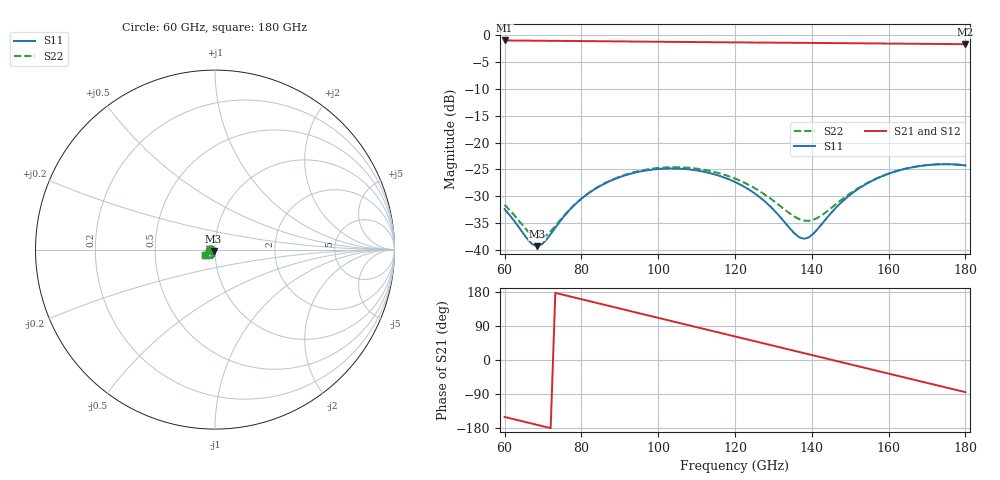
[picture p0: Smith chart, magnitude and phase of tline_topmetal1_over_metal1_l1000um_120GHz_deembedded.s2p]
! Created with skrf 2.2.0 (http://scikit-rf.org).
# GHz S DB R 50.0
! Port[1] = P1
! Port[2] = P2
!freq dBS11 angS11 dBS21 angS21 dBS12 angS12 dBS22 angS22
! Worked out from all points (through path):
!   101 points, 60 GHz to 180 GHz, reference 50 ohm
!   highest |S21| = -1.01 dB at 60 GHz (marker M1); lowest = -1.7 dB at 180 GHz (marker M2)
!   group delay of S21, straight-line fit = 6.82 ps
!   lowest |S11| = -39.3 dB at 68.4 GHz (marker M3), VSWR 1.02, Z = 49.2 - j0.754 ohm
!   |S11| at or under -10 dB: start of sweep to end of sweep
!   |S22| runs from -37.8 to -24.0 dB; largest |S21 - S12| = 9.9e-14
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60  -32.39 -175.0  -1.01 -150.3  -1.01 -150.3  -31.58 -172.3
66  -37.99 -158.2  -1.05 -165.1  -1.05 -165.1  -36.46 -158.5
68.4  -39.26 -135.3  -1.06 -171.0  -1.06 -171.0  -37.76 -140.4
70.8  -38.14 -112.0  -1.07 -176.9  -1.07 -176.9  -37.29 -119.6
75.6  -33.60 -94.2  -1.10 171.3  -1.10 171.3  -33.49 -98.9
80.4  -30.21 -95.6  -1.13 159.4  -1.13 159.4  -30.18 -97.9
85.2  -27.94 -102.5  -1.16 147.6  -1.16 147.6  -27.89 -103.5
90  -26.42 -111.5  -1.19 135.8  -1.19 135.8  -26.33 -111.6
96  -25.28 -123.9  -1.23 121.0  -1.23 121.0  -25.14 -123.0
100.8  -24.87 -134.1  -1.26 109.2  -1.26 109.2  -24.67 -132.6
110.4  -25.22 -154.2  -1.32 85.7  -1.32 85.7  -24.88 -151.3
120  -27.33 -172.0  -1.37 62.2  -1.37 62.2  -26.69 -167.3
127.2  -30.59 179.9  -1.41 44.5  -1.41 44.5  -29.39 -173.5
136.8  -37.64 -151.3  -1.46 21.0  -1.46 21.0  -34.26 -153.4
138  -37.89 -140.3  -1.46 18.0  -1.46 18.0  -34.52 -146.9
140.4  -36.95 -119.7  -1.47 12.2  -1.47 12.2  -34.36 -133.4
146.4  -32.03 -100.1  -1.51 -2.6  -1.51 -2.6  -31.39 -113.1
150  -29.70 -100.5  -1.53 -11.4  -1.53 -11.4  -29.45 -110.7
154.8  -27.44 -105.7  -1.55 -23.2  -1.55 -23.2  -27.38 -113.2
160.8  -25.58 -115.3  -1.59 -37.9  -1.59 -37.9  -25.58 -120.6
170.4  -24.17 -133.2  -1.65 -61.4  -1.65 -61.4  -24.16 -136.3
180  -24.27 -151.6  -1.70 -84.8  -1.70 -84.8  -24.19 -153.1
